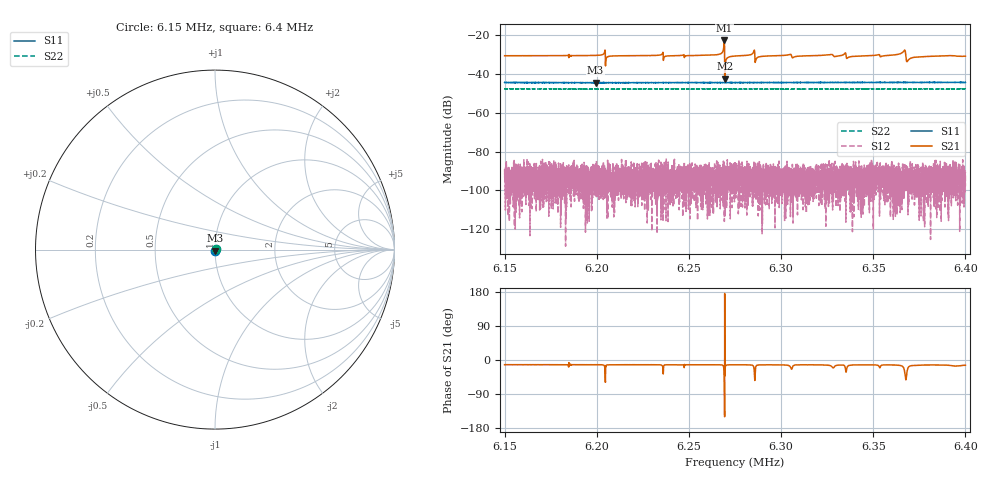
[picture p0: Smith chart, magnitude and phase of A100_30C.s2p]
!CETC41,AV3656A,ZGL00048,1.3.2
!Calibration ON (Full Solt 2-Port(Omit Isolation))
!Measurements: S11 S21 S12 S22
!2025-07-09 20:33
# Hz  S  dB  R 50.000
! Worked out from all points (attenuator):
!   6401 points, 6.15 MHz to 6.4 MHz, reference 50 ohm
!   highest |S21| = -22.99 dB at 6.2692 MHz (marker M1); lowest = -42.7 dB at 6.2694 MHz (marker M2)
!   lowest |S11| = -44.7 dB at 6.1993 MHz (marker M3), VSWR 1.01, Z = 49.9 - j0.575 ohm
!   |S11| at or under -10 dB: start of sweep to end of sweep
!   |S22| runs from -48.1 to -47.7 dB; largest |S21 - S12| = 0.071
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6150000  -44.55 -96.0  -30.82 -12.4  -89.02 26.7  -47.85 40.4
6191680  -44.68 -96.4  -30.75 -12.4  -97.00 76.7  -47.87 40.4
6199336  -44.74 -96.5  -30.65 -12.5  -97.71 68.2  -47.91 40.3
6203398  -44.72 -96.0  -30.15 -12.8  -95.54 151.8  -47.93 40.6
6205938  -44.64 -96.4  -31.34 -12.7  -90.90 152.1  -47.90 40.9
6233359  -44.67 -96.7  -30.58 -12.5  -94.57 -166.3  -47.92 41.5
6263789  -44.62 -96.4  -30.42 -12.6  -101.91 21.2  -47.86 41.5
6268086  -44.59 -96.6  -29.19 -13.4  -94.03 -130.5  -47.84 41.1
6269219  -44.58 -96.2  -22.99 -66.2  -115.88 -126.9  -47.86 41.3
6269414  -44.66 -96.4  -42.66 175.4  -93.26 -164.4  -47.84 41.1
6270664  -44.65 -96.6  -32.10 -13.2  -91.50 102.0  -47.88 41.8
6275000  -44.60 -96.5  -30.99 -12.7  -91.98 -68.4  -47.84 40.8
6284453  -44.65 -96.0  -29.82 -13.7  -94.34 99.3  -47.93 41.2
6287031  -44.59 -96.1  -31.85 -13.7  -88.39 102.7  -47.89 41.6
6304219  -44.59 -95.9  -30.29 -14.7  -95.95 137.3  -47.95 41.4
6306992  -44.58 -95.8  -31.53 -14.0  -93.31 6.8  -47.92 40.9
6316680  -44.56 -96.0  -30.81 -12.7  -93.87 145.0  -47.92 41.7
6358359  -44.53 -96.1  -30.65 -13.0  -91.24 -42.5  -47.88 41.8
6366367  -44.51 -95.8  -28.68 -19.5  -91.93 -162.4  -47.82 41.9
6369102  -44.57 -96.0  -32.97 -18.9  -91.29 62.6  -47.81 42.0
6374219  -44.51 -95.9  -31.49 -14.0  -99.25 18.7  -47.88 41.9
6400000  -44.56 -96.0  -31.04 -14.0  -90.63 42.4  -47.93 41.9
